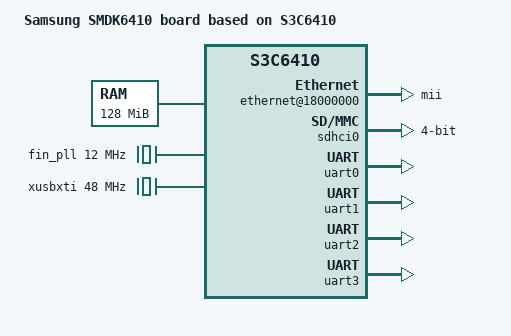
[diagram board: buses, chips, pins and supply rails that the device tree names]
// SPDX-License-Identifier: GPL-2.0
/*
 * Samsung S3C6410 based SMDK6410 board device tree source.
 *
 * Copyright (c) 2013 Tomasz Figa <tomasz.figa@gmail.com>
 *
 * Device tree source file for Samsung SMDK6410 board which is based on
 * Samsung's S3C6410 SoC.
 */

/dts-v1/;

#include <dt-bindings/gpio/gpio.h>
#include <dt-bindings/interrupt-controller/irq.h>

#include "s3c6410.dtsi"

/ {
	model = "Samsung SMDK6410 board based on S3C6410";
	compatible = "samsung,mini6410", "samsung,s3c6410";

	memory@50000000 {
		device_type = "memory";
		reg = <0x50000000 0x8000000>;
	};

	chosen {
		bootargs = "console=ttySAC0,115200n8 earlyprintk rootwait root=/dev/mmcblk0p1";
	};

	fin_pll: oscillator-0 {
		compatible = "fixed-clock";
		clock-frequency = <12000000>;
		clock-output-names = "fin_pll";
		#clock-cells = <0>;
	};

	xusbxti: oscillator-1 {
		compatible = "fixed-clock";
		clock-output-names = "xusbxti";
		clock-frequency = <48000000>;
		#clock-cells = <0>;
	};

	srom-cs1-bus@18000000 {
		compatible = "simple-bus";
		#address-cells = <1>;
		#size-cells = <1>;
		reg = <0x18000000 0x8000000>;
		ranges;

		ethernet@18000000 {
			compatible = "smsc,lan9115";
			reg = <0x18000000 0x10000>;
			interrupt-parent = <&gpn>;
			interrupts = <10 IRQ_TYPE_LEVEL_LOW>;
			phy-mode = "mii";
			reg-io-width = <4>;
			smsc,force-internal-phy;
		};
	};
};

&clocks {
	clocks = <&fin_pll>;
};

&sdhci0 {
	pinctrl-names = "default";
	pinctrl-0 = <&sd0_clk>, <&sd0_cmd>, <&sd0_cd>, <&sd0_bus4>;
	bus-width = <4>;
	status = "okay";
};

&uart0 {
	pinctrl-names = "default";
	pinctrl-0 = <&uart0_data>, <&uart0_fctl>;
	status = "okay";
};

&uart1 {
	pinctrl-names = "default";
	pinctrl-0 = <&uart1_data>;
	status = "okay";
};

&uart2 {
	pinctrl-names = "default";
	pinctrl-0 = <&uart2_data>;
	status = "okay";
};

&uart3 {
	pinctrl-names = "default";
	pinctrl-0 = <&uart3_data>;
	status = "okay";
};
